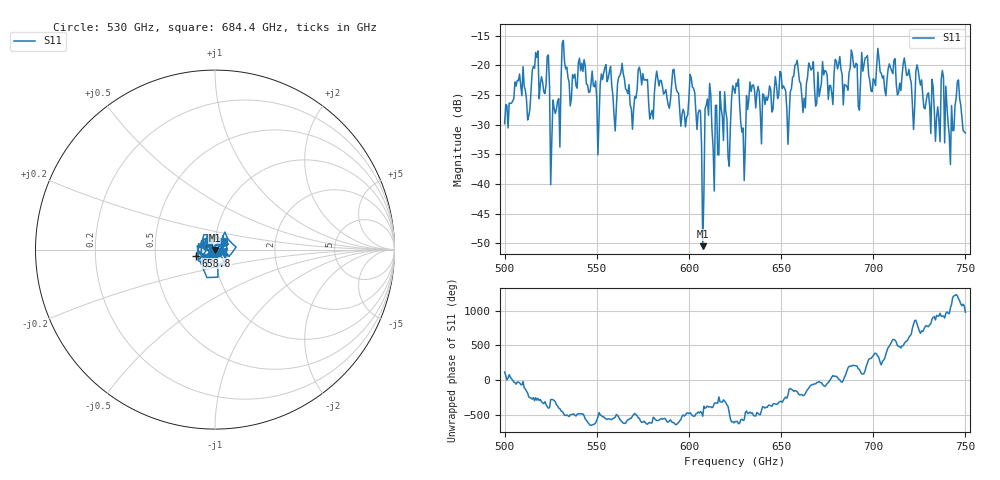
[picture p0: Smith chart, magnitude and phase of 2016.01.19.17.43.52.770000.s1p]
!Created with skrf (http://scikit-rf.org).
# GHz S RI R 50.0
!freq ReS11 ImS11
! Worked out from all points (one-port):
!   401 points, 500 GHz to 750 GHz, reference 50 ohm
!   lowest |S11| = -50.5 dB at 607.5 GHz (marker M1), VSWR 1.01, Z = 49.7 - j0.138 ohm
!   |S11| at or under -10 dB: start of sweep to end of sweep
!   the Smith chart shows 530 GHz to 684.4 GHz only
!   S11 on the Smith chart (normalised r, x): 530 GHz: 1.03, -0.03; 658.8 GHz: 0.81, -0.06; 684.4 GHz: 1.10, +0.11
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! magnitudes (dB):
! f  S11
! 500 GHz  -29.8
! 513.1 GHz  -28.5
! 516.9 GHz  -17.8
! 526.2 GHz  -25.8
! 530 GHz  -33.8
! 531.2 GHz  -16.2
! 550 GHz  -25.6
! 562.5 GHz  -21.7
! 569.4 GHz  -30.8
! 573.8 GHz  -21.3
! 579.4 GHz  -28.2
! 593.8 GHz  -24.5
! 601.9 GHz  -23.7
! 607.5 GHz  -50.5
! 610.6 GHz  -28.4
! 615 GHz  -26.7
! 625 GHz  -24.7
! 629.4 GHz  -30.6
! 634.4 GHz  -23.4
! 656.2 GHz  -22.0
! 658.8 GHz  -19.1
! 684.4 GHz  -23.2
! 687.5 GHz  -20.4
! 718.8 GHz  -21.6
! 738.1 GHz  -22.1
! 742.5 GHz  -26.8
! 746.2 GHz  -22.5
! 750 GHz  -31.4
